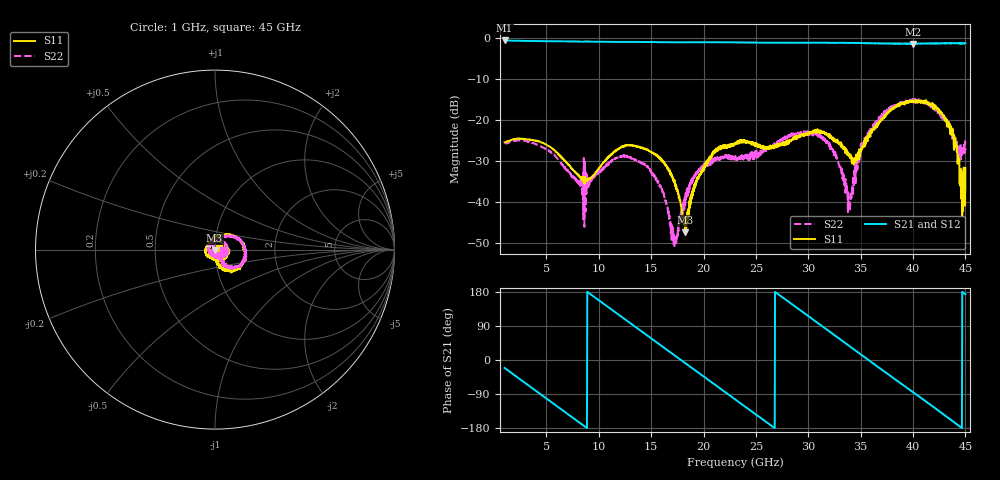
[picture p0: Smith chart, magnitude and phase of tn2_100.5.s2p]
!Keysight Technologies,N5247B,MY61255062,A.19.80.06
!Date: Thursday, May 21, 2026 12:00:50
!Correction: S11(Cdelta 2-Port  )
!S21(Cdelta 2-Port  )
!S12(Cdelta 2-Port  )
!S22(Cdelta 2-Port  )
!S2P File: Measurements: S11, S21, S12, S22:
# Hz S  dB  R 50
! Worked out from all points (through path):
!   1601 points, 1 GHz to 45 GHz, reference 50 ohm
!   highest |S21| = -0.48 dB at 1 GHz (marker M1); lowest = -1.3 dB at 39.99 GHz (marker M2)
!   group delay of S21, straight-line fit = 55.8 ps
!   lowest |S11| = -47.3 dB at 18.24 GHz (marker M3), VSWR 1.01, Z = 49.7 - j0.341 ohm
!   |S11| at or under -10 dB: start of sweep to end of sweep
!   |S22| runs from -50.7 to -14.8 dB; largest |S21 - S12| = 0.013
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1e9  -25.35 -10.9  -0.48 -21.0  -0.48 -21.0  -25.51 -11.1
2.9525e9  -24.55 -49.5  -0.59 -60.5  -0.60 -60.5  -25.03 -49.0
4.6025e9  -25.45 -82.2  -0.65 -93.8  -0.65 -93.8  -26.57 -80.9
8.3425e9  -33.99 -102.0  -0.76 -169.2  -0.76 -169.2  -36.25 -106.2
1.02125e10  -31.10 -71.4  -0.80 153.3  -0.80 153.3  -32.28 -79.4
1.2385e10  -26.40 -97.8  -0.84 109.8  -0.84 109.7  -28.59 -109.3
1.5685e10  -28.75 -148.4  -0.89 43.3  -0.89 43.3  -35.34 -178.9
1.72525e10  -35.40 -169.0  -0.92 12.0  -0.93 12.0  -48.35 88.9
1.82425e10  -47.30 -127.4  -0.93 -7.8  -0.93 -7.8  -40.74 -9.2
2.0415e10  -30.51 -74.4  -0.91 -51.5  -0.92 -51.5  -30.54 -75.2
2.3e10  -25.53 -123.3  -0.95 -103.7  -0.95 -103.7  -29.02 -141.5
2.67125e10  -26.84 109.1  -1.02 -178.1  -1.02 -178.0  -25.85 75.8
3.03425e10  -22.90 -20.4  -1.04 108.9  -1.05 109.0  -22.78 -16.5
3.24325e10  -25.16 -84.0  -1.06 66.9  -1.07 66.8  -28.52 -69.1
3.39175e10  -28.68 -141.9  -1.11 36.9  -1.08 36.7  -39.40 -160.0
3.52375e10  -26.18 116.7  -1.13 10.3  -1.12 10.0  -26.29 71.6
3.7685e10  -17.78 37.5  -1.23 -39.0  -1.20 -38.9  -16.97 28.8
3.9995e10  -15.31 -13.7  -1.32 -84.8  -1.29 -84.9  -14.96 -14.0
4.2855e10  -19.01 -65.4  -1.19 -142.2  -1.16 -142.5  -18.80 -52.0
4.39825e10  -25.76 -80.2  -1.15 -165.4  -1.16 -165.3  -24.47 -45.9
4.467e10  -32.65 -24.1  -1.20 -179.7  -1.15 -179.6  -27.65 -0.2
4.5e10  -31.70 17.7  -1.19 173.5  -1.22 173.4  -27.31 -4.9
